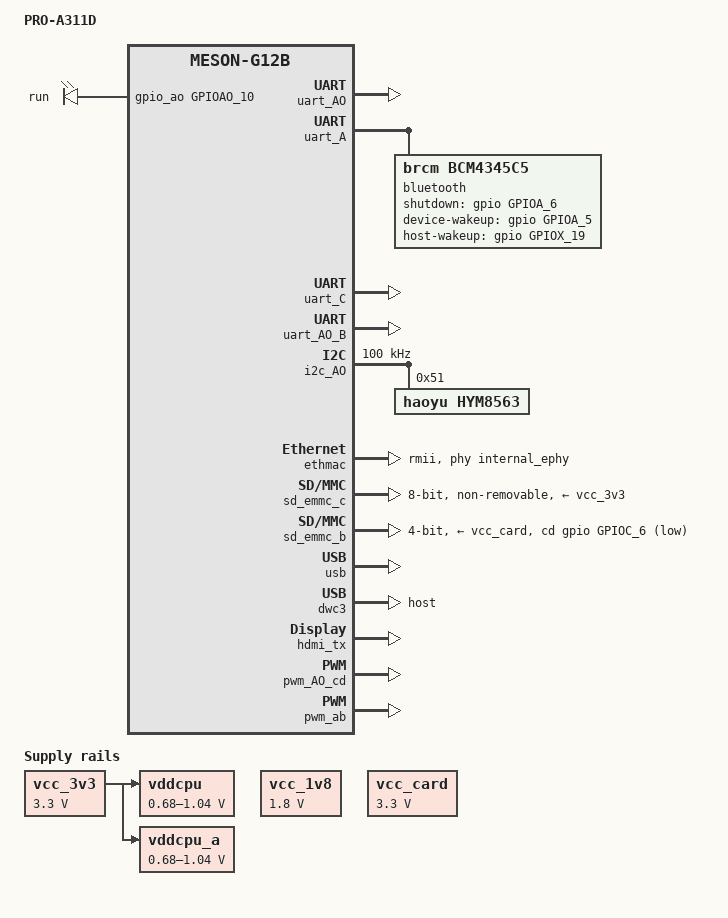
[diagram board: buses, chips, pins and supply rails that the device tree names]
// SPDX-License-Identifier: (GPL-2.0+ OR MIT)
/*
 * Copyright (c) 2026 PRO-A311D Armbian bring-up
 *
 * 基于 Amlogic W400 参考设计 (A311D) 与上游 Khadas VIM3 主线 DT 改造。
 * 外设 GPIO / 引脚分配取自厂商 SDK: pro-a311d.dts
 *
 * 已按用户指令落实:
 *   - 删除全部 GPIO 控制供电稳压器 (USB GPIOA_1 / HUB GPIOA_3 /
 *     风扇 GPIOZ_11 / OTG VBUS GPIOZ_9), 这些口硬件常开, 不做 DT 开关。
 *   - SD 卡检测改用 cd-gpios = <&gpio GPIOC_6 GPIO_ACTIVE_LOW> (不再 broken-cd 轮询)。
 *   - BT 已确认为 AP6256 => compatible "brcm,bcm4345c5"。
 *   - OTG VBUS / host-device 选择脚已去除, dwc3 固定 dr_mode = "host"。
 *   - HDMI TX 已打开 (pinctrl hdmitx_hpd_pins)。
 *   - CPU 动态调压 (DVFS) 已恢复: 板级补两个 pwm-regulator 并接 cpu-supply,
 *     电源轨 PWM AO CD ch1 (GPIOAO_E) -> cluster0(A53), PWM AB ch0 (GPIOA_E) -> cluster1(A73)。
 *     电压表取自 vendor W400 BSP (680k-1040k, 反相), OPP 表已覆盖 731k-1011k。
 *     主线 g12b 全链 (含 VIM3/odroid-n2) 默认不接 cpu-supply, 故须板级补。
 *
 * 仍待核对 (不影响 dtb 编过):
 *   - 大核电压实际路由: 走 PWM AB ch0/GPIOA_E (同 vendor vddcpu1) 还是 PWM AO CD ch0
 *     (同 VIM3 参考板)? 当前按 vendor vddcpu1 走 pwm_ab。
 *   - GPIOAO_E/GPIOA_E 是否与核心板原理图一致 (PWM 输出脚)。
 *   - voltage-table 极性 (反相) 与真实电压表是否一致。
 *   - BT 三脚极性 (shutdown/device-wakeup/host-wakeup) 是否全部高有效,
 *     以及 HDMI 5V 是否确实常开 (否则需补 hdmi-supply)。
 */

/dts-v1/;

#include "meson-g12b-a311d.dtsi"
#include <dt-bindings/gpio/meson-g12a-gpio.h>

/ {
	model = "PRO-A311D";
	compatible = "amlogic,a311d", "amlogic,g12b";

	aliases {
		serial0 = &uart_AO;	/* 调试串口 ttyAML0 */
		serial1 = &uart_A;	/* BT  (ttyS1) */
		serial2 = &uart_C;	/* RS485 (ttyS3) */
		serial3 = &uart_AO_B;	/* uart1 (ttyS4) */
	};

	chosen {
		stdout-path = "serial0:115200n8";
	};

	leds {
		compatible = "gpio-leds";
		led-run {
			label = "run";
			gpios = <&gpio_ao GPIOAO_10 GPIO_ACTIVE_HIGH>;
			default-state = "on";
		};
	};

	/*
	 * 电源轨 (bring-up 假设: 常开固定稳压器)
	 * 真实 PMIC 输出电压/上电顺序需以底板原理图为准。
	 * vddcpu / vddcpu_a 为 PWM 调压稳压器 (pwm-regulator), 驱动 CPU 核心电压
	 * 随 OPP 频率调节, 接各 CPU 簇的 cpu-supply。PWM 控制器默认 disabled, 见文件尾 enable。
	 */
	vcc_3v3: regulator-vcc-3v3 {
		compatible = "regulator-fixed";
		regulator-name = "VCC_3V3";
		regulator-min-microvolt = <3300000>;
		regulator-max-microvolt = <3300000>;
		regulator-always-on;
	};

	vcc_1v8: regulator-vcc-1v8 {
		compatible = "regulator-fixed";
		regulator-name = "VCC_1V8";
		regulator-min-microvolt = <1800000>;
		regulator-max-microvolt = <1800000>;
		regulator-always-on;
	};

	vcc_card: regulator-vcc-card {
		compatible = "regulator-fixed";
		regulator-name = "VCC_CARD";
		regulator-min-microvolt = <3300000>;
		regulator-max-microvolt = <3300000>;
		regulator-always-on;
	};

	vddcpu: regulator-vddcpu {
		/*
		 * cluster0 (A53, cpu0..cpu3) 动态调压.
		 * pwm-regulator 驱动 PWM AO CD 通道 D (GPIOAO_E, pwm_ao_d_e_pins),
		 * 接 OPP 表的 cpu-supply. 原始 vendor BSP (mesong12b.dtsi 的
		 * vddcpu0 = pwm_AO_cd ch1) 即此接法; 主线 g12b 公共链未接 cpu-supply,
		 * 故板级补上以恢复 DVFS 电压随频调节.
		 */
		compatible = "pwm-regulator";
		regulator-name = "VDDCPU";
		regulator-min-microvolt = <680000>;
		regulator-max-microvolt = <1040000>;
		regulator-always-on;
		vin-supply = <&vcc_3v3>;
		pwm-supply = <&vcc_3v3>;
		pwms = <&pwm_AO_cd 1 1500 0>;
		pinctrl-0 = <&pwm_ao_d_e_pins>;
		pinctrl-names = "default";
		max-duty-cycle = <1500>;
		/* 占空比 -> 电压映射 (来自 vendor W400 BSP, 反相: 占空比越大电压越低) */
		voltage-table = <1040000 0>,
			<1030000 3>,
			<1020000 6>,
			<1010000 8>,
			<1000000 11>,
			<990000 14>,
			<980000 17>,
			<970000 20>,
			<960000 23>,
			<950000 26>,
			<940000 29>,
			<930000 31>,
			<920000 34>,
			<910000 37>,
			<900000 40>,
			<890000 43>,
			<880000 45>,
			<870000 48>,
			<860000 51>,
			<850000 54>,
			<840000 56>,
			<830000 59>,
			<820000 62>,
			<810000 65>,
			<800000 68>,
			<790000 70>,
			<780000 73>,
			<770000 76>,
			<760000 79>,
			<750000 81>,
			<740000 84>,
			<730000 87>,
			<720000 89>,
			<710000 92>,
			<700000 95>,
			<690000 98>,
			<680000 100>;
	};

	vddcpu_a: regulator-vddcpu-a {
		/*
		 * cluster1 (A73, cpu100..cpu103) 动态调压.
		 * pwm-regulator 驱动 PWM AB 通道 A (GPIOA_E, pwm_a_e_pins),
		 * 接 OPP 表的 cpu-supply. 原始 vendor BSP (vddcpu1 = pwm_ab ch0) 即此接法.
		 * 待核对: 若 PRO-A311D 大核电压实际走 PWM AO CD 通道 0 (同 VIM3 参考板),
		 * 改 pwms = <&pwm_AO_cd 0 1500 0> 并将 pinctrl 换为 AO_CD 通道 0 的 pin.
		 */
		compatible = "pwm-regulator";
		regulator-name = "VDDCPU_A";
		regulator-min-microvolt = <680000>;
		regulator-max-microvolt = <1040000>;
		regulator-always-on;
		vin-supply = <&vcc_3v3>;
		pwm-supply = <&vcc_3v3>;
		pwms = <&pwm_ab 0 1500 0>;
		pinctrl-0 = <&pwm_a_e_pins>;
		pinctrl-names = "default";
		max-duty-cycle = <1500>;
		voltage-table = <1040000 0>,
			<1030000 3>,
			<1020000 6>,
			<1010000 8>,
			<1000000 11>,
			<990000 14>,
			<980000 17>,
			<970000 20>,
			<960000 23>,
			<950000 26>,
			<940000 29>,
			<930000 31>,
			<920000 34>,
			<910000 37>,
			<900000 40>,
			<890000 43>,
			<880000 45>,
			<870000 48>,
			<860000 51>,
			<850000 54>,
			<840000 56>,
			<830000 59>,
			<820000 62>,
			<810000 65>,
			<800000 68>,
			<790000 70>,
			<780000 73>,
			<770000 76>,
			<760000 79>,
			<750000 81>,
			<740000 84>,
			<730000 87>,
			<720000 89>,
			<710000 92>,
			<700000 95>,
			<690000 98>,
			<680000 100>;
	};

	/*
	 * 不需要供电控制: 删除 USB 供电(GPIOA_1) / HUB 复位(GPIOA_3) /
	 * 风扇(GPIOZ_11) / OTG VBUS(GPIOZ_9) 四个 GPIO 控制稳压器。
	 * 这些口默认由硬件常开供电 (或固定稳压器), 不由 DT 通过 GPIO 开关。
	 */
};

/* 调试串口 (ttyAML0) */
&uart_AO {
	status = "okay";
};

/* BT: ttyS1, AP6256 (Broadcom BCM4345C5, SDIO Wi-Fi + UART BT 二合一) */
&uart_A {
	status = "okay";
	pinctrl-0 = <&uart_a_pins>, <&uart_a_cts_rts_pins>;
	pinctrl-names = "default";

	/*
	 * AP6256: GPIO 取自 SDK rp_power:
	 *   reset/btdown = GPIOA_6   -> shutdown-gpios (拉高复位)
	 *   btwakeup     = GPIOA_5   -> device-wakeup-gpios (host 唤醒模块)
	 *   hostwake     = GPIOX_19  -> host-wakeup-gpios (模块唤醒 host)
	 * 极性按 Broadcom binding 默认 GPIO_ACTIVE_HIGH (拉高有效)。
	 * 待核对: 若底板该口复位为低有效, 改为 GPIO_ACTIVE_LOW。
	 */
	bluetooth {
		compatible = "brcm,bcm4345c5";
		shutdown-gpios = <&gpio GPIOA_6 GPIO_ACTIVE_HIGH>;
		device-wakeup-gpios = <&gpio GPIOA_5 GPIO_ACTIVE_HIGH>;
		host-wakeup-gpios = <&gpio GPIOX_19 GPIO_ACTIVE_HIGH>;
	};
};

/* RS485: ttyS3 */
&uart_C {
	status = "okay";
	pinctrl-0 = <&uart_c_pins>;
	pinctrl-names = "default";
};

/* uart1: ttyS4 */
&uart_AO_B {
	status = "okay";
	/* 待核对引脚组: 默认 2/3 脚; 若底板用 8/9 脚改为 uart_ao_b_8_9_pins */
	pinctrl-0 = <&uart_ao_b_2_3_pins>;
	pinctrl-names = "default";
};

/* RTC: HYM8563 @0x51 on i2c_AO (SDK &i2c_AO) */
&i2c_AO {
	status = "okay";
	pinctrl-0 = <&i2c_ao_sck_pins>, <&i2c_ao_sda_pins>;
	pinctrl-names = "default";
	clock-frequency = <100000>;

	hym8563: rtc@51 {
		compatible = "haoyu,hym8563";
		reg = <0x51>;
		#clock-cells = <0>;
	};
};

/* 内部 PHY 以太网 (RMII).
 * SDK 用 vendor 属性 internal_phy=<1>; 主线用 phy-handle 指向 internal_ephy。
 * internal_ephy 定义在 meson-g12-common.dtsi:1727 (ethernet-phy@8, max-speed 100)。 */
&ethmac {
	status = "okay";
	phy-handle = <&internal_ephy>;
	phy-mode = "rmii";
};

/* eMMC (rootfs) */
&sd_emmc_c {
	status = "okay";
	pinctrl-0 = <&emmc_ctrl_pins>, <&emmc_data_8b_pins>, <&emmc_ds_pins>;
	pinctrl-1 = <&emmc_clk_gate_pins>;
	pinctrl-names = "default", "clk-gate";
	bus-width = <8>;
	cap-mmc-highspeed;
	mmc-ddr-1_8v;
	mmc-hs200-1_8v;
	max-frequency = <200000000>;
	disable-wp;
	vmmc-supply = <&vcc_3v3>;
	vqmmc-supply = <&vcc_1v8>;
	non-removable;
	disables-sd;
};

/* SD 卡 */
&sd_emmc_b {
	status = "okay";
	pinctrl-0 = <&sdcard_c_pins>;
	pinctrl-1 = <&sdcard_clk_gate_c_pins>;
	pinctrl-names = "default", "clk-gate";
	bus-width = <4>;
	cap-sd-highspeed;
	max-frequency = <50000000>;
	disable-wp;
	vmmc-supply = <&vcc_card>;
	vqmmc-supply = <&vcc_card>;
	cd-gpios = <&gpio GPIOC_6 GPIO_ACTIVE_LOW>;
	/*
	 * 注意: 若 GPIOC 不作为 SDIO 口使用, 系统启动阶段不要把
	 * CARD_DET(GPIOC_6) 拉低, 否则 romcode 会尝试从 SD 卡启动
	 * (误判为可启动介质)。此处 GPIO_ACTIVE_LOW 表示插入时拉低,
	 * 拔出为高; 请确保上电默认电平为高 (未插入态)。
	 */
};

/* USB2/USB3 复合控制器 (纯 host, 不接 OTG VBUS / 不接 host-device 选择脚) */
&usb {
	status = "okay";
};

&dwc3 {
	status = "okay";
	dr_mode = "host";
};

/* HDMI TX 输出 (接底板 HDMI 座) */
&hdmi_tx {
	status = "okay";
	pinctrl-0 = <&hdmitx_hpd_pins>;
	pinctrl-names = "default";
	/*
	 * 注意: 若底板 HDMI 5V 由 GPIO 控制稳压器供电 (如 vim3 的 VCC_5V),
	 * 需在此加 hdmi-supply = <&vcc_5v>; 本板假设 HDMI 5V 常开,
	 * 故省略。 若热插拔不识别, 优先核对 HPD 脚 (hdmitx_hpd_pins) 电平。
	 */
};

/*
 * CPU 动态调压所需 PWM 控制器: 主线默认 disabled, 必须板级 enable。
 * vddcpu 用 PWM AO CD (通道 D, GPIOAO_E), vddcpu_a 用 PWM AB (GPIOA_E)。
 */
&pwm_AO_cd {
	status = "okay";
};

&pwm_ab {
	status = "okay";
	pinctrl-0 = <&pwm_a_e_pins>;
	pinctrl-names = "default";
};

/*
 * 把两个 pwm-regulator 接到 CPU 簇的 cpu-supply, 让 OPP 表驱动电压随频调节。
 * A311D = 2×A53 (cluster0: cpu0/cpu1) + 4×A73 (cluster1: cpu100..cpu103)。
 */
&cpu0   { cpu-supply = <&vddcpu>; };
&cpu1   { cpu-supply = <&vddcpu>; };
&cpu100 { cpu-supply = <&vddcpu_a>; };
&cpu101 { cpu-supply = <&vddcpu_a>; };
&cpu102 { cpu-supply = <&vddcpu_a>; };
&cpu103 { cpu-supply = <&vddcpu_a>; };
